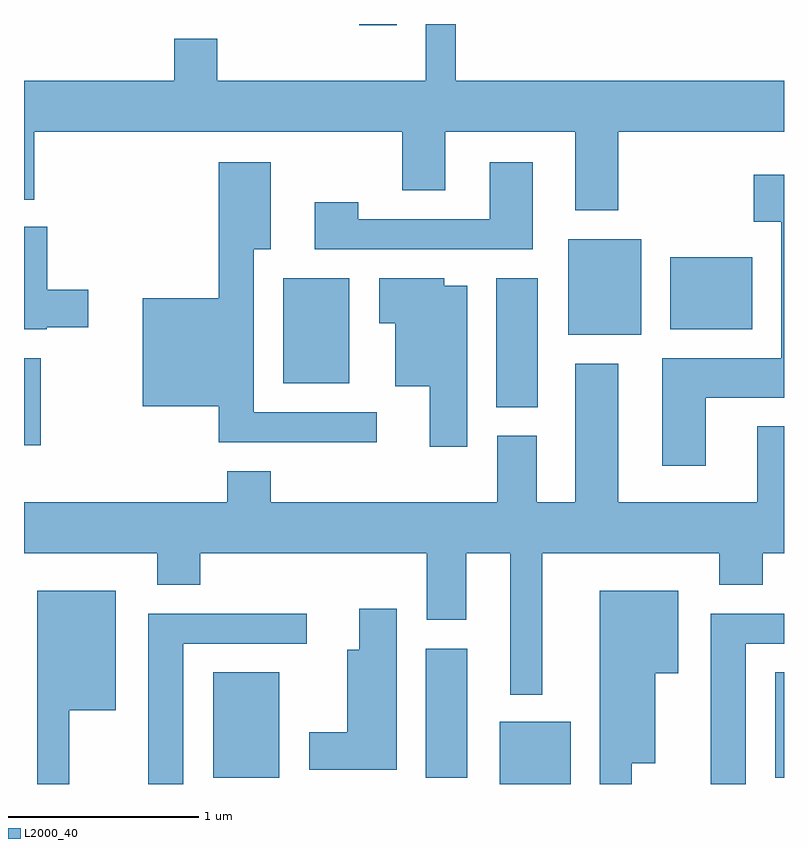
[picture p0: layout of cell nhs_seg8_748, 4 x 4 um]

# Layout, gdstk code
import gdstk
lib = gdstk.Library(unit=1e-6, precision=1e-09)
def R(c, l, rs):  # rectangles x0, y0, x1, y1
    for r in rs: c.add(gdstk.rectangle(r[:2], r[2:], *l))
def P(c, l, *ps):  # polygons
    for p in ps: c.add(gdstk.Polygon(p, *l))
L2000_40 = (2000, 40)

nhs_seg8_748 = lib.new_cell('nhs_seg8_748')
R(nhs_seg8_748, L2000_40, [(210.116,1806.342,210.489,1806.669), (208.606,1806.376,208.954,1806.929), (209.726,1806.376,209.944,1807.054), (211.566,1806.376,211.611,1806.929), (207.611,1808.126,207.699,1808.584), (210.096,1808.326,210.314,1809.004), (208.976,1808.451,209.324,1809.004), (210.476,1808.706,210.859,1809.209), (211.011,1808.736,211.444,1809.114), (209.376,1810.336,209.574,1810.342)])
P(nhs_seg8_748, L2000_40, [(210.739,1809.776),(211.611,1809.776),(211.611,1810.044),(209.884,1810.044),(209.884,1810.342),(209.726,1810.342),(209.726,1810.044),(208.629,1810.044),(208.629,1810.264),(208.401,1810.264),(208.401,1810.044),(207.611,1810.044),(207.611,1809.418),(207.664,1809.418),(207.664,1809.776),(209.601,1809.776),(209.601,1809.466),(209.829,1809.466),(209.829,1809.776),(210.511,1809.776),(210.511,1809.361),(210.739,1809.361)],
  [(209.468,1808.299),(208.819,1808.299),(208.819,1809.156),(208.909,1809.156),(208.909,1809.614),(208.636,1809.614),(208.636,1808.899),(208.236,1808.899),(208.236,1808.331),(208.636,1808.331),(208.636,1808.141),(209.468,1808.141)],
  [(210.289,1809.614),(210.061,1809.614),(210.061,1809.314),(209.369,1809.314),(209.369,1809.404),(209.141,1809.404),(209.141,1809.156),(210.289,1809.156)],
  [(211.199,1808.376),(211.611,1808.376),(211.611,1809.549),(211.451,1809.549),(211.451,1809.301),(211.596,1809.301),(211.596,1808.584),(210.971,1808.584),(210.971,1808.016),(211.199,1808.016)],
  [(207.73,1808.746),(207.949,1808.746),(207.949,1808.944),(207.734,1808.944),(207.734,1809.274),(207.611,1809.274),(207.611,1808.736),(207.73,1808.736)],
  [(209.944,1808.964),(209.824,1808.964),(209.824,1809.004),(209.481,1809.004),(209.481,1808.766),(209.566,1808.766),(209.566,1808.436),(209.746,1808.436),(209.746,1808.116),(209.944,1808.116)],
  [(210.339,1807.556),(211.271,1807.556),(211.271,1807.391),(211.499,1807.391),(211.499,1807.556),(211.611,1807.556),(211.611,1808.224),(211.471,1808.224),(211.471,1807.824),(210.739,1807.824),(210.739,1808.554),(210.511,1808.554),(210.511,1807.824),(210.309,1807.824),(210.309,1808.174),(210.101,1808.174),(210.101,1807.824),(208.909,1807.824),(208.909,1807.989),(208.681,1807.989),(208.681,1807.824),(207.611,1807.824),(207.611,1807.556),(208.311,1807.556),(208.311,1807.391),(208.539,1807.391),(208.539,1807.556),(209.731,1807.556),(209.731,1807.206),(209.939,1807.206),(209.939,1807.556),(210.171,1807.556),(210.171,1806.813),(210.339,1806.813)],
  [(210.809,1806.451),(210.934,1806.451),(210.934,1806.926),(211.054,1806.926),(211.054,1807.359),(210.641,1807.359),(210.641,1806.342),(210.809,1806.342)],
  [(207.849,1806.731),(208.094,1806.731),(208.094,1807.359),(207.681,1807.359),(207.681,1806.342),(207.849,1806.342)],
  [(209.574,1807.264),(209.376,1807.264),(209.376,1807.049),(209.311,1807.049),(209.311,1806.614),(209.111,1806.614),(209.111,1806.416),(209.574,1806.416)],
  [(211.409,1807.081),(211.611,1807.081),(211.611,1807.239),(211.226,1807.239),(211.226,1806.342),(211.409,1806.342)],
  [(208.449,1807.081),(209.098,1807.081),(209.098,1807.239),(208.266,1807.239),(208.266,1806.342),(208.449,1806.342)])

lib.write_gds('nhs_seg8_748.gds')
